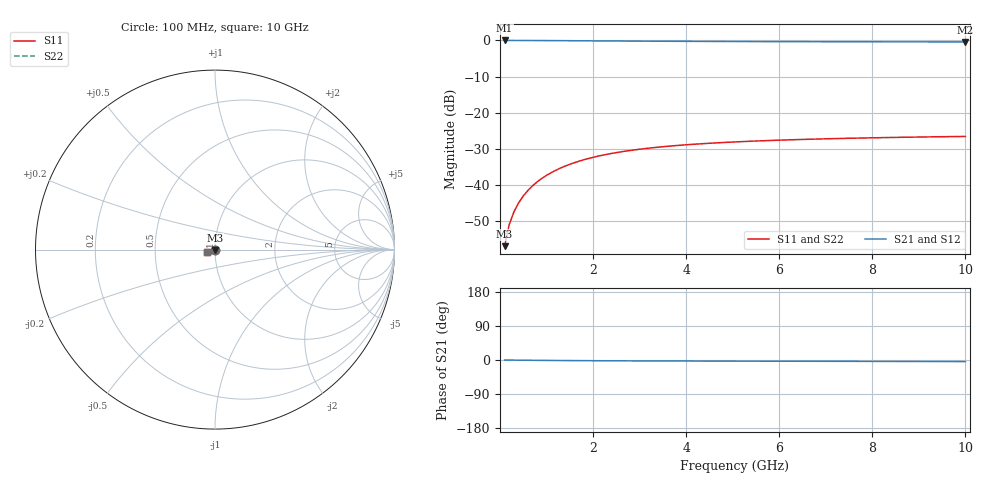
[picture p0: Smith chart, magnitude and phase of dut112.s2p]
! Touchstone file exported from HFSS 2024.1.0
!  File:  C:/UserFiles/LocalFiles/RDL_TSV_Batchsim/temp_TSV1_112_1779377941.aedt
!  Generated:  11:43:18 PM May 21, 2026
!  Design:  TSV1
!  Project:  temp_TSV1_112_1779377941
!  Setup:  Setup1
!  Solution:  Sweep
! Variables:
!  dtsv = 14.97um
!  hbump = 3um
!  htsv = 60.33um
!  lrdl = 252.1521522um
!  p = 40
!  p1 = 52.61um
!  t = 500um
!  trdl = 3um
!  wrdl = 24.89489489um
# GHz S MA R 50.000000
! Terminal data exported
! Port[1] = TSV22_T1
! Port[2] = TSV22_T2
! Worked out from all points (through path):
!   100 points, 100 MHz to 10 GHz, reference 50 ohm
!   highest |S21| = 0.00 dB at 100 MHz (marker M1); lowest = -0.4 dB at 10 GHz (marker M2)
!   lowest |S11| = -56.9 dB at 100 MHz (marker M3), VSWR 1.00, Z = 50 - j0.143 ohm
!   |S11| at or under -10 dB: start of sweep to end of sweep
!   |S22| runs from -56.9 to -26.6 dB; largest |S21 - S12| = 3e-15
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0.1  0.001425 -89.1  0.9999 -0.1  0.9999 -0.1  0.001425 -89.1
! Gamma 0 0 0 0
! Port Impedance 50 0 50 0
0.2  0.002844 -92.3  0.9997 -0.2  0.9997 -0.2  0.002844 -92.3
0.3  0.004256 -94.6  0.9995 -0.4  0.9995 -0.4  0.004256 -94.6
0.4  0.005655 -96.6  0.9992 -0.5  0.9992 -0.5  0.005655 -96.6
0.5  0.007038 -98.6  0.9988 -0.6  0.9988 -0.6  0.007038 -98.6
0.6  0.008402 -100.4  0.9983 -0.7  0.9983 -0.7  0.008402 -100.4
0.7  0.009743 -102.2  0.9977 -0.8  0.9977 -0.8  0.009743 -102.2
0.8  0.01106 -104.0  0.9971 -0.9  0.9971 -0.9  0.01106 -104.0
0.9  0.01234 -105.7  0.9964 -1.0  0.9964 -1.0  0.01234 -105.7
1.1  0.01482 -109.1  0.9949 -1.2  0.9949 -1.2  0.01482 -109.1
1.4  0.01826 -113.7  0.9923 -1.4  0.9923 -1.4  0.01826 -113.7
1.6  0.02037 -116.7  0.9906 -1.6  0.9906 -1.6  0.02037 -116.7
1.8  0.02232 -119.4  0.9888 -1.7  0.9888 -1.7  0.02232 -119.4
2.1  0.02499 -123.3  0.9861 -1.9  0.9861 -1.9  0.02499 -123.3
2.5  0.02806 -127.9  0.9827 -2.1  0.9827 -2.1  0.02806 -127.9
2.9  0.03067 -131.9  0.9795 -2.3  0.9795 -2.3  0.03067 -131.9
3.4  0.03338 -136.3  0.9759 -2.5  0.9759 -2.5  0.03338 -136.3
4.2  0.03676 -142.1  0.971 -2.8  0.971 -2.8  0.03676 -142.1
5.1  0.03959 -147.3  0.9666 -3.0  0.9666 -3.0  0.03959 -147.3
6.7  0.04306 -154.4  0.9609 -3.4  0.9609 -3.4  0.04306 -154.4
8.4  0.04546 -160.1  0.9569 -3.8  0.9569 -3.8  0.04546 -160.1
10  0.04699 -164.4  0.9543 -4.2  0.9543 -4.2  0.04699 -164.4
